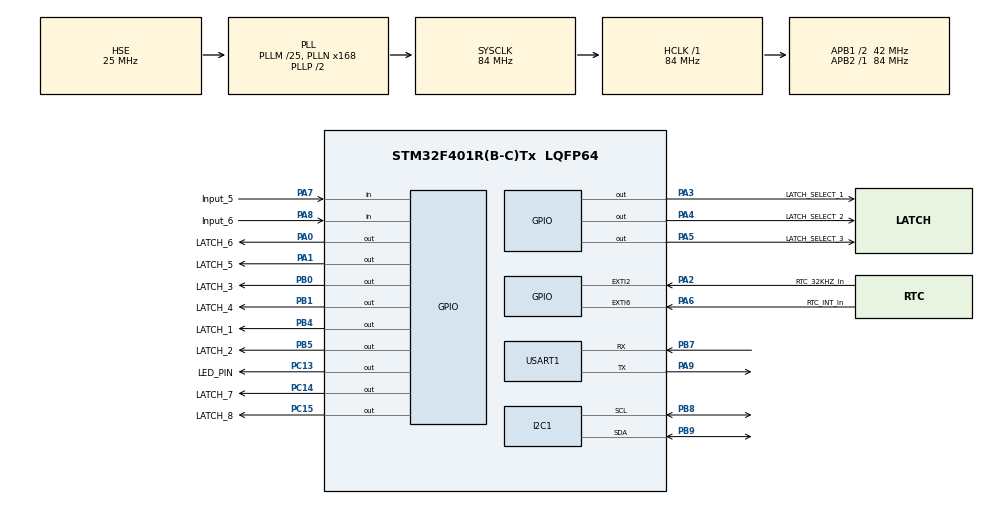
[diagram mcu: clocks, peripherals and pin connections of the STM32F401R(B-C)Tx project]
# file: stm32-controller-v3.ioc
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Dma.Request0=USART1_RX
Dma.Request1=USART1_TX
Dma.USART1_RX.0.Direction=DMA_PERIPH_TO_MEMORY
Dma.USART1_RX.0.FIFOMode=DMA_FIFOMODE_DISABLE
Dma.USART1_RX.0.Instance=DMA2_Stream2
Dma.USART1_RX.0.MemDataAlignment=DMA_MDATAALIGN_BYTE
Dma.USART1_RX.0.MemInc=DMA_MINC_ENABLE
Dma.USART1_RX.0.Mode=DMA_CIRCULAR
Dma.USART1_RX.0.PeriphDataAlignment=DMA_PDATAALIGN_BYTE
Dma.USART1_RX.0.PeriphInc=DMA_PINC_DISABLE
Dma.USART1_RX.0.Priority=DMA_PRIORITY_LOW
Dma.USART1_TX.1.Direction=DMA_MEMORY_TO_PERIPH
Dma.USART1_TX.1.FIFOMode=DMA_FIFOMODE_DISABLE
Dma.USART1_TX.1.Instance=DMA2_Stream7
Dma.USART1_TX.1.MemDataAlignment=DMA_MDATAALIGN_BYTE
Dma.USART1_TX.1.MemInc=DMA_MINC_ENABLE
Dma.USART1_TX.1.Mode=DMA_NORMAL
Dma.USART1_TX.1.PeriphDataAlignment=DMA_PDATAALIGN_BYTE
Dma.USART1_TX.1.PeriphInc=DMA_PINC_DISABLE
Dma.USART1_TX.1.Priority=DMA_PRIORITY_LOW
FREERTOS.Tasks01=defaultTask,24,256,StartDefaultTask,Default,NULL,Dynamic,NULL,NULL;UARTTask,8,256,StartUARTTask,Default,NULL,Dynamic,NULL,NULL;RTCTask,24,256,StartRTCTask,Default,NULL,Dynamic,NULL,NULL
FREERTOS.configUSE_NEWLIB_REENTRANT=1
I2C1.I2C_Mode=I2C_Fast
Mcu.Family=STM32F4
Mcu.Name=STM32F401R(B-C)Tx
Mcu.Package=LQFP64
NVIC.DMA2_Stream2_IRQn=true\:5\:0\:false\:false\:true\:true\:false\:true\:true
NVIC.DMA2_Stream7_IRQn=true\:5\:0\:false\:false\:true\:true\:false\:true\:true
NVIC.EXTI2_IRQn=true\:5\:0\:false\:false\:true\:true\:true\:true\:true
NVIC.EXTI9_5_IRQn=true\:5\:0\:false\:false\:true\:true\:true\:true\:true
NVIC.I2C1_ER_IRQn=true\:5\:0\:false\:false\:true\:true\:true\:true\:true
NVIC.I2C1_EV_IRQn=true\:5\:0\:false\:false\:true\:true\:true\:true\:true
NVIC.PriorityGroup=NVIC_PRIORITYGROUP_4
NVIC.RCC_IRQn=true\:5\:0\:false\:false\:true\:true\:true\:false\:true
NVIC.TIM1_UP_TIM10_IRQn=true\:15\:0\:false\:false\:true\:false\:false\:true\:true
NVIC.TimeBase=TIM1_UP_TIM10_IRQn
NVIC.TimeBaseIP=TIM1
NVIC.USART1_IRQn=true\:5\:0\:false\:false\:true\:true\:true\:true\:true
PA0-WKUP.GPIO_Label=LATCH_6
PA0-WKUP.Signal=GPIO_Output
PA1.GPIO_Label=LATCH_5
PA1.Signal=GPIO_Output
PA13.Mode=Serial_Wire
PA13.Signal=SYS_JTMS-SWDIO
PA14.Mode=Serial_Wire
PA14.Signal=SYS_JTCK-SWCLK
PA2.GPIO_Label=RTC_32KHZ_In
PA2.Signal=GPXTI2
PA3.GPIO_Label=LATCH_SELECT_1
PA3.Signal=GPIO_Output
PA4.GPIO_Label=LATCH_SELECT_2
PA4.Signal=GPIO_Output
PA5.GPIO_Label=LATCH_SELECT_3
PA5.Signal=GPIO_Output
PA6.GPIO_Label=RTC_INT_In
PA6.GPIO_ModeDefaultEXTI=GPIO_MODE_IT_FALLING
PA6.GPIO_PuPd=GPIO_PULLUP
PA6.Signal=GPXTI6
PA7.GPIO_Label=Input_5
PA7.Signal=GPIO_Input
PA8.GPIO_Label=Input_6
PA8.Signal=GPIO_Input
PA9.Mode=Asynchronous
PA9.Signal=USART1_TX
PB0.GPIO_Label=LATCH_3
PB0.Signal=GPIO_Output
PB1.GPIO_Label=LATCH_4
PB1.Signal=GPIO_Output
PB4.GPIO_Label=LATCH_1
PB4.Signal=GPIO_Output
PB5.GPIO_Label=LATCH_2
PB5.Signal=GPIO_Output
PB7.Mode=Asynchronous
PB7.Signal=USART1_RX
PB8.Mode=I2C
PB8.Signal=I2C1_SCL
PB9.Mode=I2C
PB9.Signal=I2C1_SDA
PC13-ANTI_TAMP.GPIO_Label=LED_PIN
PC13-ANTI_TAMP.PinState=GPIO_PIN_RESET
PC13-ANTI_TAMP.Signal=GPIO_Output
PC14-OSC32_IN.GPIO_Label=LATCH_7
PC14-OSC32_IN.Signal=GPIO_Output
PC15-OSC32_OUT.GPIO_Label=LATCH_8
PC15-OSC32_OUT.Signal=GPIO_Output
PH0\ -\ OSC_IN.Mode=HSE-External-Oscillator
PH0\ -\ OSC_IN.Signal=RCC_OSC_IN
PH1\ -\ OSC_OUT.Mode=HSE-External-Oscillator
PH1\ -\ OSC_OUT.Signal=RCC_OSC_OUT
ProjectManager.HeapSize=0x200
ProjectManager.StackSize=0x400
ProjectManager.TargetToolchain=STM32CubeIDE
RCC.48MHZClocksFreq_Value=42000000
RCC.AHBFreq_Value=84000000
RCC.APB1CLKDivider=RCC_HCLK_DIV2
RCC.APB1Freq_Value=42000000
RCC.APB1TimFreq_Value=84000000
RCC.APB2Freq_Value=84000000
RCC.APB2TimFreq_Value=84000000
RCC.CortexFreq_Value=84000000
RCC.HCLKFreq_Value=84000000
RCC.HSE_VALUE=25000000
RCC.HSI_VALUE=16000000
RCC.LSE_VALUE=32768
RCC.PLLM=25
RCC.PLLN=168
RCC.PLLSourceVirtual=RCC_PLLSOURCE_HSE
RCC.SYSCLKFreq_VALUE=84000000
RCC.SYSCLKSource=RCC_SYSCLKSOURCE_PLLCLK
RCC.VCOOutputFreq_Value=168000000
USART1.VirtualMode=VM_ASYNC
VP_FREERTOS_VS_CMSIS_V2.Mode=CMSIS_V2
VP_SYS_VS_tim1.Mode=TIM1
board=custom

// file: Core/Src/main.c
/* USER CODE BEGIN Header */
/**
  ******************************************************************************
  * @file           : main.c
  * @brief          : Main program body
  ******************************************************************************
  * @attention
  *
  * Copyright (c) 2026 STMicroelectronics.
  * All rights reserved.
  *
  * This software is licensed under terms that can be found in the LICENSE file
  * in the root directory of this software component.
  * If no LICENSE file comes with this software, it is provided AS-IS.
  *
  ******************************************************************************
  */
/* USER CODE END Header */
#include "main.h"
#include "cmsis_os.h"

/* USER CODE BEGIN Includes */

#include "rtc_manager.h"
#include "traffic_controller.h"
/* USER CODE END Includes */

I2C_HandleTypeDef hi2c1;

UART_HandleTypeDef huart1;
DMA_HandleTypeDef hdma_usart1_rx;
DMA_HandleTypeDef hdma_usart1_tx;

/* Definitions for defaultTask */
osThreadId_t defaultTaskHandle;
const osThreadAttr_t defaultTask_attributes = {
  .name = "defaultTask",
  .stack_size = 256 * 4,
  .priority = (osPriority_t) osPriorityNormal,
};
/* Definitions for UARTTask */
osThreadId_t UARTTaskHandle;
const osThreadAttr_t UARTTask_attributes = {
  .name = "UARTTask",
  .stack_size = 256 * 4,
  .priority = (osPriority_t) osPriorityLow,
};
/* Definitions for RTCTask */
osThreadId_t RTCTaskHandle;
const osThreadAttr_t RTCTask_attributes = {
  .name = "RTCTask",
  .stack_size = 256 * 4,
  .priority = (osPriority_t) osPriorityNormal,
};
/* USER CODE BEGIN PV */

RTC_TimeDate time;
osThreadId_t trafficTaskHandle;

/* USER CODE END PV */

void SystemClock_Config(void);
static void MX_GPIO_Init(void);
static void MX_DMA_Init(void);
static void MX_I2C1_Init(void);
static void MX_USART1_UART_Init(void);
void StartDefaultTask(void *argument);
void StartUARTTask(void *argument);
void StartRTCTask(void *argument);

/* USER CODE BEGIN 0 */
void HAL_GPIO_EXTI_Callback(uint16_t GPIO_Pin){
	if (GPIO_Pin == RTC_INT_In_Pin){
    // DS3231 1Hz pulse → release RTC tick semaphore
    RTC_Tick();
	}
}
/* USER CODE END 0 */

int main(void)
{

  /* MCU Configuration--------------------------------------------------------*/

  /* Reset of all peripherals, Initializes the Flash interface and the Systick. */
  HAL_Init();

  /* Configure the system clock */
  SystemClock_Config();

  /* Initialize all configured peripherals */
  MX_GPIO_Init();
  MX_DMA_Init();
  MX_I2C1_Init();
  MX_USART1_UART_Init();

  /* Init scheduler */
  osKernelInitialize();

  /* USER CODE BEGIN RTOS_SEMAPHORES */
  /* add semaphores, ... */
  RTC_Manager_Init(&hi2c1);   // creates rtcTickSemaphore
  /* USER CODE END RTOS_SEMAPHORES */

  /* Create the thread(s) */
  /* creation of defaultTask */
  defaultTaskHandle = osThreadNew(StartDefaultTask, NULL, &defaultTask_attributes);

  /* creation of UARTTask */
  UARTTaskHandle = osThreadNew(StartUARTTask, NULL, &UARTTask_attributes);

  /* creation of RTCTask */
  RTCTaskHandle = osThreadNew(StartRTCTask, NULL, &RTCTask_attributes);

  /* USER CODE BEGIN RTOS_THREADS */
  /* add threads, ... */
  const osThreadAttr_t trafficTask_attr = {
      .name       = "TrafficMgr",
      .stack_size = 256 * 4,
      .priority   = osPriorityNormal,
  };
  trafficTaskHandle = osThreadNew(TrafficManagerTask, NULL, &trafficTask_attr);
  /* USER CODE END RTOS_THREADS */

  /* Start scheduler */
  osKernelStart();

  /* We should never get here as control is now taken by the scheduler */

  /* Infinite loop */
  /* USER CODE BEGIN WHILE */
  RTC_GetCurrentTime(&time);
  while (1)
  {
    /* USER CODE END WHILE */

  }
}

void SystemClock_Config(void)
{
  RCC_OscInitTypeDef RCC_OscInitStruct = {0};
  RCC_ClkInitTypeDef RCC_ClkInitStruct = {0};

  /** Configure the main internal regulator output voltage
  */
  __HAL_RCC_PWR_CLK_ENABLE();
  __HAL_PWR_VOLTAGESCALING_CONFIG(PWR_REGULATOR_VOLTAGE_SCALE2);

  /** Initializes the RCC Oscillators according to the specified parameters
  * in the RCC_OscInitTypeDef structure.
  */
  RCC_OscInitStruct.OscillatorType = RCC_OSCILLATORTYPE_HSE;
  RCC_OscInitStruct.HSEState = RCC_HSE_ON;
  RCC_OscInitStruct.PLL.PLLState = RCC_PLL_ON;
  RCC_OscInitStruct.PLL.PLLSource = RCC_PLLSOURCE_HSE;
  RCC_OscInitStruct.PLL.PLLM = 25;
  RCC_OscInitStruct.PLL.PLLN = 168;
  RCC_OscInitStruct.PLL.PLLP = RCC_PLLP_DIV2;
  RCC_OscInitStruct.PLL.PLLQ = 4;
  if (HAL_RCC_OscConfig(&RCC_OscInitStruct) != HAL_OK)
  {
    Error_Handler();
  }

  /** Initializes the CPU, AHB and APB buses clocks
  */
  RCC_ClkInitStruct.ClockType = RCC_CLOCKTYPE_HCLK|RCC_CLOCKTYPE_SYSCLK
                              |RCC_CLOCKTYPE_PCLK1|RCC_CLOCKTYPE_PCLK2;
  RCC_ClkInitStruct.SYSCLKSource = RCC_SYSCLKSOURCE_PLLCLK;
  RCC_ClkInitStruct.AHBCLKDivider = RCC_SYSCLK_DIV1;
  RCC_ClkInitStruct.APB1CLKDivider = RCC_HCLK_DIV2;
  RCC_ClkInitStruct.APB2CLKDivider = RCC_HCLK_DIV1;

  if (HAL_RCC_ClockConfig(&RCC_ClkInitStruct, FLASH_LATENCY_2) != HAL_OK)
  {
    Error_Handler();
  }
}

static void MX_I2C1_Init(void)
{

  hi2c1.Instance = I2C1;
  hi2c1.Init.ClockSpeed = 400000;
  hi2c1.Init.DutyCycle = I2C_DUTYCYCLE_2;
  hi2c1.Init.OwnAddress1 = 0;
  hi2c1.Init.AddressingMode = I2C_ADDRESSINGMODE_7BIT;
  hi2c1.Init.DualAddressMode = I2C_DUALADDRESS_DISABLE;
  hi2c1.Init.OwnAddress2 = 0;
  hi2c1.Init.GeneralCallMode = I2C_GENERALCALL_DISABLE;
  hi2c1.Init.NoStretchMode = I2C_NOSTRETCH_DISABLE;
  if (HAL_I2C_Init(&hi2c1) != HAL_OK)
  {
    Error_Handler();
  }

}

static void MX_USART1_UART_Init(void)
{

  huart1.Instance = USART1;
  huart1.Init.BaudRate = 115200;
  huart1.Init.WordLength = UART_WORDLENGTH_8B;
  huart1.Init.StopBits = UART_STOPBITS_1;
  huart1.Init.Parity = UART_PARITY_NONE;
  huart1.Init.Mode = UART_MODE_TX_RX;
  huart1.Init.HwFlowCtl = UART_HWCONTROL_NONE;
  huart1.Init.OverSampling = UART_OVERSAMPLING_16;
  if (HAL_UART_Init(&huart1) != HAL_OK)
  {
    Error_Handler();
  }

}

static void MX_DMA_Init(void)
{

  /* DMA controller clock enable */
  __HAL_RCC_DMA2_CLK_ENABLE();

  /* DMA interrupt init */
  /* DMA2_Stream2_IRQn interrupt configuration */
  HAL_NVIC_SetPriority(DMA2_Stream2_IRQn, 5, 0);
  HAL_NVIC_EnableIRQ(DMA2_Stream2_IRQn);
  /* DMA2_Stream7_IRQn interrupt configuration */
  HAL_NVIC_SetPriority(DMA2_Stream7_IRQn, 5, 0);
  HAL_NVIC_EnableIRQ(DMA2_Stream7_IRQn);

}

static void MX_GPIO_Init(void)
{
  GPIO_InitTypeDef GPIO_InitStruct = {0};

  /* GPIO Ports Clock Enable */
  __HAL_RCC_GPIOC_CLK_ENABLE();
  __HAL_RCC_GPIOH_CLK_ENABLE();
  __HAL_RCC_GPIOA_CLK_ENABLE();
  __HAL_RCC_GPIOB_CLK_ENABLE();

  /*Configure GPIO pin Output Level */
  HAL_GPIO_WritePin(GPIOC, LED_PIN_Pin|LATCH_7_Pin|LATCH_8_Pin, GPIO_PIN_RESET);

  /*Configure GPIO pin Output Level */
  HAL_GPIO_WritePin(GPIOA, LATCH_6_Pin|LATCH_5_Pin|LATCH_SELECT_1_Pin|LATCH_SELECT_2_Pin
                          |LATCH_SELECT_3_Pin, GPIO_PIN_RESET);

  /*Configure GPIO pin Output Level */
  HAL_GPIO_WritePin(GPIOB, LATCH_3_Pin|LATCH_4_Pin|LATCH_1_Pin|LATCH_2_Pin, GPIO_PIN_RESET);

  /*Configure GPIO pins : LED_PIN_Pin LATCH_7_Pin LATCH_8_Pin */
  GPIO_InitStruct.Pin = LED_PIN_Pin|LATCH_7_Pin|LATCH_8_Pin;
  GPIO_InitStruct.Mode = GPIO_MODE_OUTPUT_PP;
  GPIO_InitStruct.Pull = GPIO_NOPULL;
  GPIO_InitStruct.Speed = GPIO_SPEED_FREQ_LOW;
  HAL_GPIO_Init(GPIOC, &GPIO_InitStruct);

  /*Configure GPIO pins : LATCH_6_Pin LATCH_5_Pin LATCH_SELECT_1_Pin LATCH_SELECT_2_Pin
                           LATCH_SELECT_3_Pin */
  GPIO_InitStruct.Pin = LATCH_6_Pin|LATCH_5_Pin|LATCH_SELECT_1_Pin|LATCH_SELECT_2_Pin
                          |LATCH_SELECT_3_Pin;
  GPIO_InitStruct.Mode = GPIO_MODE_OUTPUT_PP;
  GPIO_InitStruct.Pull = GPIO_NOPULL;
  GPIO_InitStruct.Speed = GPIO_SPEED_FREQ_LOW;
  HAL_GPIO_Init(GPIOA, &GPIO_InitStruct);

  /*Configure GPIO pin : RTC_32KHZ_In_Pin */
  GPIO_InitStruct.Pin = RTC_32KHZ_In_Pin;
  GPIO_InitStruct.Mode = GPIO_MODE_IT_RISING;
  GPIO_InitStruct.Pull = GPIO_NOPULL;
  HAL_GPIO_Init(RTC_32KHZ_In_GPIO_Port, &GPIO_InitStruct);

  /*Configure GPIO pin : RTC_INT_In_Pin */
  GPIO_InitStruct.Pin = RTC_INT_In_Pin;
  GPIO_InitStruct.Mode = GPIO_MODE_IT_FALLING;
  GPIO_InitStruct.Pull = GPIO_PULLUP;
  HAL_GPIO_Init(RTC_INT_In_GPIO_Port, &GPIO_InitStruct);

  /*Configure GPIO pins : Input_5_Pin Input_6_Pin */
  GPIO_InitStruct.Pin = Input_5_Pin|Input_6_Pin;
  GPIO_InitStruct.Mode = GPIO_MODE_INPUT;
  GPIO_InitStruct.Pull = GPIO_NOPULL;
  HAL_GPIO_Init(GPIOA, &GPIO_InitStruct);

  /*Configure GPIO pins : LATCH_3_Pin LATCH_4_Pin LATCH_1_Pin LATCH_2_Pin */
  GPIO_InitStruct.Pin = LATCH_3_Pin|LATCH_4_Pin|LATCH_1_Pin|LATCH_2_Pin;
  GPIO_InitStruct.Mode = GPIO_MODE_OUTPUT_PP;
  GPIO_InitStruct.Pull = GPIO_NOPULL;
  GPIO_InitStruct.Speed = GPIO_SPEED_FREQ_LOW;
  HAL_GPIO_Init(GPIOB, &GPIO_InitStruct);

  /* EXTI interrupt init*/
  HAL_NVIC_SetPriority(EXTI2_IRQn, 5, 0);
  HAL_NVIC_EnableIRQ(EXTI2_IRQn);

  HAL_NVIC_SetPriority(EXTI9_5_IRQn, 5, 0);
  HAL_NVIC_EnableIRQ(EXTI9_5_IRQn);

}

void StartDefaultTask(void *argument)
{
  for(;;)
  {
    osDelay(1);
  }
}

void StartUARTTask(void *argument)
{
  for(;;)
  {
    osDelay(1);
  }
}

void StartRTCTask(void *argument)
{
  for(;;)
  {
    osDelay(1);
  }
}

void HAL_TIM_PeriodElapsedCallback(TIM_HandleTypeDef *htim)
{
  if (htim->Instance == TIM1)
  {
    HAL_IncTick();
  }
}

void Error_Handler(void)
{
  __disable_irq();
  while (1)
  {
  }
}
